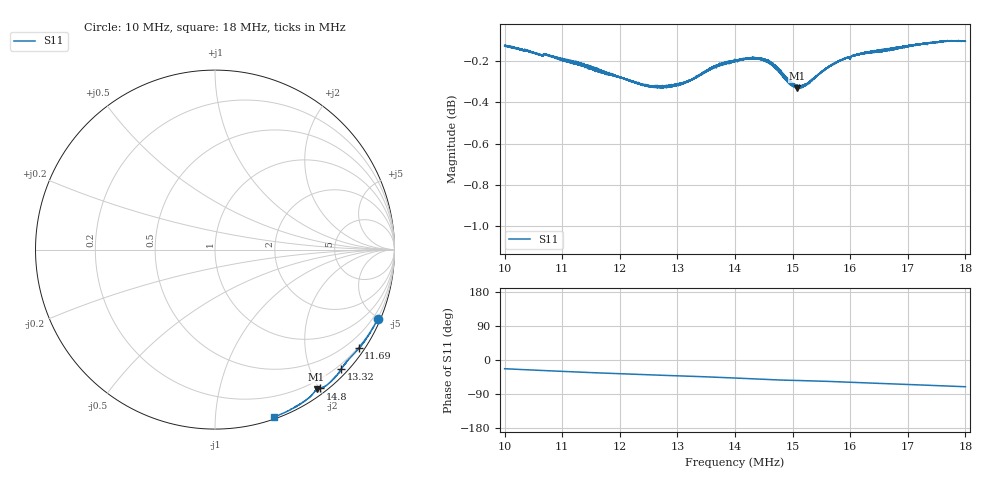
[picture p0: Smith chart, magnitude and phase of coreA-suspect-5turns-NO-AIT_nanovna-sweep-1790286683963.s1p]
! NanoVNA Web complex sweep
! Processing: unaveraged complex samples; linear segment spacing; no smoothing
# Hz S RI R 50
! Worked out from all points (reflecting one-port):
!   10100 points, 10 MHz to 18 MHz, reference 50 ohm
!   lowest |S11| = -0.3 dB at 15.08 MHz (marker M1), VSWR 52.30, Z = 4.63 - j98 ohm
!   phase of S11 starts at -23 deg and turns -48 deg over the sweep
!   S11 on the Smith chart (normalised r, x): 10 MHz: 0.18, -4.91; 11.69 MHz: 0.17, -3.22; 13.32 MHz: 0.12, -2.51; 14.8 MHz: 0.08, -2.01; 18 MHz: 0.02, -1.41
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1e7  0.9073 -0.3853
1.071201e7  0.8659 -0.4611
1.10003e7  0.8474 -0.4889
1.139471e7  0.8206 -0.5243
1.16925e7  0.8007 -0.5489
1.19998e7  0.7803 -0.574
1.241085e7  0.7528 -0.6023
1.30001e7  0.7201 -0.6419
1.332482e7  0.7033 -0.666
1.360756e7  0.6877 -0.6897
1.39996e7  0.6588 -0.7217
1.426334e7  0.6379 -0.7426
1.44946e7  0.6172 -0.759
1.464904e7  0.6012 -0.7683
1.479635e7  0.5858 -0.7734
1.490644e7  0.5766 -0.7762
1.49991e7  0.5701 -0.7772
1.507989e7  0.5658 -0.7786
1.525492e7  0.5586 -0.7866
1.549173e7  0.546 -0.8032
1.57222e7  0.5307 -0.819
1.59994e7  0.5089 -0.8362
1.637639e7  0.4759 -0.859
1.69989e7  0.4228 -0.8902
1.74844e7  0.3787 -0.9123
1.765468e7  0.3616 -0.9199
1.796118e7  0.3325 -0.9308
1.799841e7  0.3292 -0.9319
